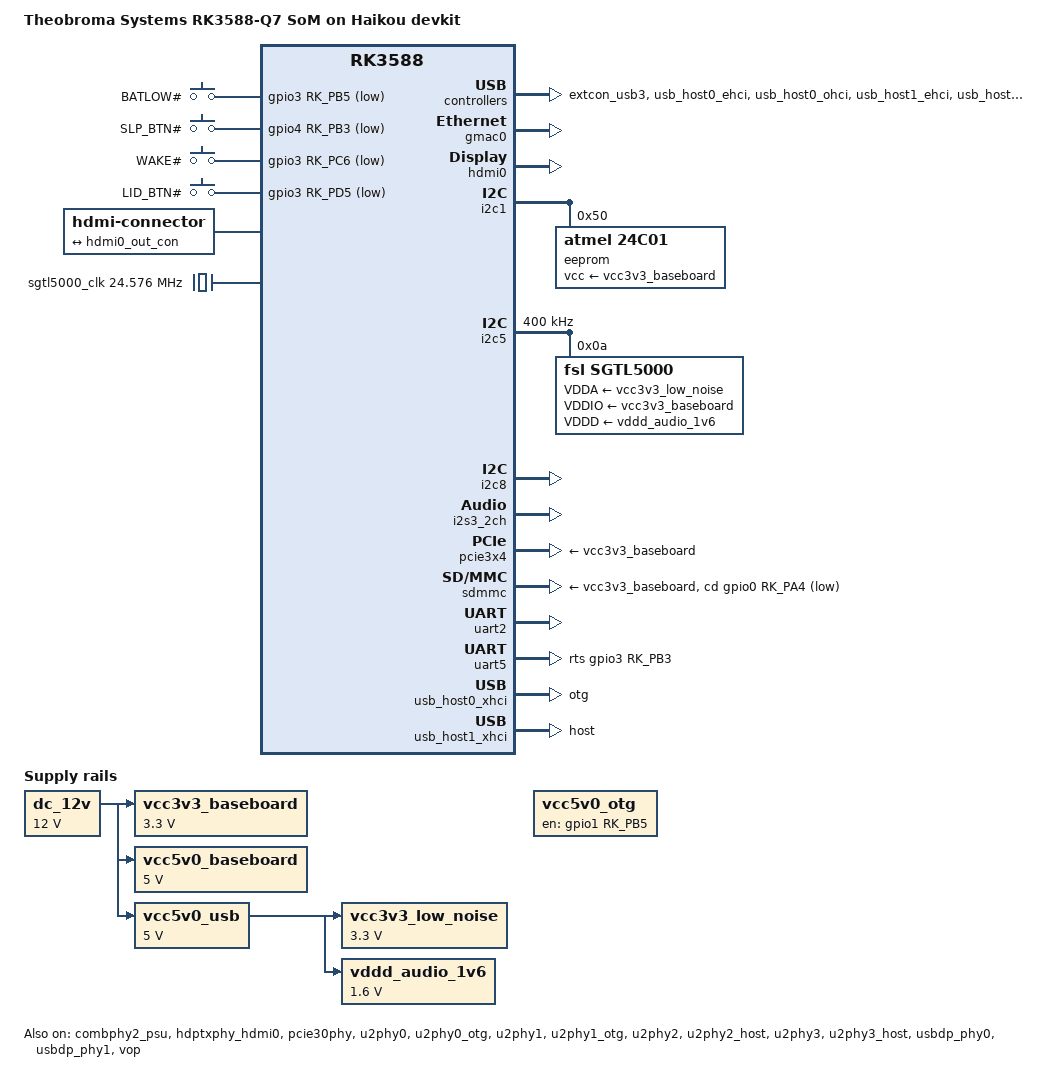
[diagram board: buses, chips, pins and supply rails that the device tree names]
// SPDX-License-Identifier: (GPL-2.0+ OR MIT)
/*
 * Copyright (c) 2023 Theobroma Systems Design und Consulting GmbH
 */

/dts-v1/;
#include <dt-bindings/input/input.h>
#include <dt-bindings/soc/rockchip,vop2.h>
#include "rk3588-tiger.dtsi"

/ {
	model = "Theobroma Systems RK3588-Q7 SoM on Haikou devkit";
	compatible = "tsd,rk3588-tiger-haikou", "tsd,rk3588-tiger", "rockchip,rk3588";

	aliases {
		ethernet0 = &gmac0;
		mmc1 = &sdmmc;
	};

	chosen {
		stdout-path = "serial2:115200n8";
	};

	dc_12v: regulator-dc-12v {
		compatible = "regulator-fixed";
		regulator-name = "dc_12v";
		regulator-always-on;
		regulator-boot-on;
		regulator-min-microvolt = <12000000>;
		regulator-max-microvolt = <12000000>;
	};

	gpio-keys {
		compatible = "gpio-keys";
		pinctrl-names = "default";
		pinctrl-0 = <&haikou_keys_pin>;

		button-batlow-n {
			label = "BATLOW#";
			linux,code = <KEY_BATTERY>;
			gpios = <&gpio3 RK_PB5 GPIO_ACTIVE_LOW>;
		};

		button-slp-btn-n {
			label = "SLP_BTN#";
			linux,code = <KEY_SLEEP>;
			gpios = <&gpio4 RK_PB3 GPIO_ACTIVE_LOW>;
		};

		button-wake-n {
			label = "WAKE#";
			linux,code = <KEY_WAKEUP>;
			gpios = <&gpio3 RK_PC6 GPIO_ACTIVE_LOW>;
			wakeup-source;
		};

		switch-lid-btn-n {
			label = "LID_BTN#";
			linux,code = <SW_LID>;
			linux,input-type = <EV_SW>;
			gpios = <&gpio3 RK_PD5 GPIO_ACTIVE_LOW>;
		};
	};

	hdmi-con {
		compatible = "hdmi-connector";
		type = "a";

		port {
			hdmi_con_in: endpoint {
				remote-endpoint = <&hdmi0_out_con>;
			};
		};
	};

	i2s3-sound {
		compatible = "simple-audio-card";
		simple-audio-card,format = "i2s";
		simple-audio-card,name = "Haikou,I2S-codec";
		simple-audio-card,mclk-fs = <512>;
		simple-audio-card,frame-master = <&sgtl5000_codec>;
		simple-audio-card,bitclock-master = <&sgtl5000_codec>;

		sgtl5000_codec: simple-audio-card,codec {
			sound-dai = <&sgtl5000>;
		};

		simple-audio-card,cpu {
			sound-dai = <&i2s3_2ch>;
		};
	};

	sgtl5000_clk: sgtl5000-oscillator  {
		compatible = "fixed-clock";
		#clock-cells = <0>;
		clock-frequency = <24576000>;
	};

	vcc3v3_baseboard: regulator-vcc3v3-baseboard {
		compatible = "regulator-fixed";
		regulator-name = "vcc3v3_baseboard";
		regulator-always-on;
		regulator-boot-on;
		regulator-min-microvolt = <3300000>;
		regulator-max-microvolt = <3300000>;
		vin-supply = <&dc_12v>;
	};

	vcc3v3_low_noise: regulator-vcc3v3-low-noise {
		compatible = "regulator-fixed";
		regulator-name = "vcc3v3_low_noise";
		regulator-boot-on;
		regulator-min-microvolt = <3300000>;
		regulator-max-microvolt = <3300000>;
		vin-supply = <&vcc5v0_usb>;
	};

	vcc5v0_baseboard: regulator-vcc5v0-baseboard {
		compatible = "regulator-fixed";
		regulator-name = "vcc5v0_baseboard";
		regulator-always-on;
		regulator-boot-on;
		regulator-min-microvolt = <5000000>;
		regulator-max-microvolt = <5000000>;
		vin-supply = <&dc_12v>;
	};

	vcc5v0_otg: regulator-vcc5v0-otg {
		compatible = "regulator-fixed";
		enable-active-high;
		gpio = <&gpio1 RK_PB5 GPIO_ACTIVE_HIGH>;
		pinctrl-names = "default";
		pinctrl-0 = <&otg_vbus_drv>;
		regulator-name = "vcc5v0_otg";
		regulator-always-on;
	};

	vcc5v0_usb: regulator-vcc5v0-usb {
		compatible = "regulator-fixed";
		regulator-name = "vcc5v0_usb";
		regulator-always-on;
		regulator-boot-on;
		regulator-min-microvolt = <5000000>;
		regulator-max-microvolt = <5000000>;
		vin-supply = <&dc_12v>;
	};

	vddd_audio_1v6: regulator-vddd-audio-1v6 {
		compatible = "regulator-fixed";
		regulator-name = "vddd_audio_1v6";
		regulator-boot-on;
		regulator-min-microvolt = <1600000>;
		regulator-max-microvolt = <1600000>;
		vin-supply = <&vcc5v0_usb>;
	};
};

&combphy2_psu {
	status = "okay";
};

&extcon_usb3 {
	status = "okay";
};

&gmac0 {
	status = "okay";
};

&hdmi0 {
	/*
	 * While HDMI-CEC is present on the Q7 connector, it is not
	 * connected on Haikou itself.
	 */
	pinctrl-names = "default";
	pinctrl-0 = <&hdmim0_tx0_hpd &hdmim1_tx0_scl &hdmim1_tx0_sda>;
	status = "okay";
};

&hdmi0_in {
	hdmi0_in_vp0: endpoint {
		remote-endpoint = <&vp0_out_hdmi0>;
	};
};

&hdmi0_out {
	hdmi0_out_con: endpoint {
		remote-endpoint = <&hdmi_con_in>;
	};
};

&hdptxphy_hdmi0 {
	status = "okay";
};

&i2c1 {
	status = "okay";

	eeprom@50 {
		reg = <0x50>;
		compatible = "atmel,24c01";
		pagesize = <8>;
		size = <128>;
		vcc-supply = <&vcc3v3_baseboard>;
	};
};

&i2c5 {
	clock-frequency = <400000>;
	status = "okay";

	sgtl5000: codec@a {
		compatible = "fsl,sgtl5000";
		reg = <0x0a>;
		clocks = <&sgtl5000_clk>;
		#sound-dai-cells = <0>;
		VDDA-supply = <&vcc3v3_low_noise>;
		VDDIO-supply = <&vcc3v3_baseboard>;
		VDDD-supply = <&vddd_audio_1v6>;
	};
};

&i2c8 {
	status = "okay";
};

&i2s3_2ch {
	status = "okay";
};

&pcie30phy {
	status = "okay";
};

&pcie3x4 {
	vpcie3v3-supply = <&vcc3v3_baseboard>;
	status = "okay";
};

&pinctrl {
	haikou {
		haikou_keys_pin: haikou-keys-pin {
			rockchip,pins =
				/* BATLOW# */
				<3 RK_PB5 RK_FUNC_GPIO &pcfg_pull_up>,
				/* SLP_BTN# */
				<4 RK_PB3 RK_FUNC_GPIO &pcfg_pull_up>,
				/* WAKE# */
				<3 RK_PC6 RK_FUNC_GPIO &pcfg_pull_up>,
				/* LID_BTN */
				<3 RK_PD5 RK_FUNC_GPIO &pcfg_pull_up>;
		};
	};

	usb2 {
		otg_vbus_drv: otg-vbus-drv {
			rockchip,pins =
			  <1 RK_PB5 RK_FUNC_GPIO &pcfg_pull_none>;
		};
	};
};

&sdmmc {
	/* while the same pin, sdmmc_det does not detect card changes */
	cd-gpios = <&gpio0 RK_PA4 GPIO_ACTIVE_LOW>;
	disable-wp;
	pinctrl-0 = <&sdmmc_bus4 &sdmmc_cmd &sdmmc_clk>;
	sd-uhs-sdr12;
	sd-uhs-sdr25;
	sd-uhs-sdr50;
	sd-uhs-sdr104;
	vmmc-supply = <&vcc3v3_baseboard>;
	status = "okay";
};

&u2phy0 {
	status = "okay";
};

&u2phy0_otg {
	phy-supply = <&vcc5v0_otg>;
	status = "okay";
};

&u2phy1 {
	status = "okay";
};

&u2phy1_otg {
	status = "okay";
};

&u2phy2 {
	status = "okay";
};

&u2phy2_host {
	status = "okay";
};

&u2phy3 {
	status = "okay";
};

&u2phy3_host {
	status = "okay";
};

&uart2 {
	status = "okay";
};

&uart5 {
	rts-gpios = <&gpio3 RK_PB3 GPIO_ACTIVE_HIGH>;
};

&usbdp_phy0 {
	status = "okay";
};

&usbdp_phy1 {
	status = "okay";
};

/* host0 on Q7_USB_P2, upper usb3 port */
&usb_host0_ehci {
	status = "okay";
};

/* host0 on Q7_USB_P2, upper usb3 port */
&usb_host0_ohci {
	status = "okay";
};

/* host0_xhci on Q7_USB_P1, usb3-otg port */
&usb_host0_xhci {
	dr_mode = "otg";
	extcon = <&extcon_usb3>;
	status = "okay";
};

/* host1 on Q7_USB_P3, usb2 port */
&usb_host1_ehci {
	status = "okay";
};

/* host1 on Q7_USB_P3, usb2 port */
&usb_host1_ohci {
	status = "okay";
};

/* host1_xhci on Q7_USB_P0, lower usb3 port */
&usb_host1_xhci {
	dr_mode = "host";
	status = "okay";
};

/* host2 on Q7_USB_P2, upper usb3 port */
&usb_host2_xhci {
	status = "okay";
};

&vop {
	status = "okay";
};

&vop_mmu {
	status = "okay";
};

&vp0 {
	vp0_out_hdmi0: endpoint@ROCKCHIP_VOP2_EP_HDMI0 {
		reg = <ROCKCHIP_VOP2_EP_HDMI0>;
		remote-endpoint = <&hdmi0_in_vp0>;
	};
};
